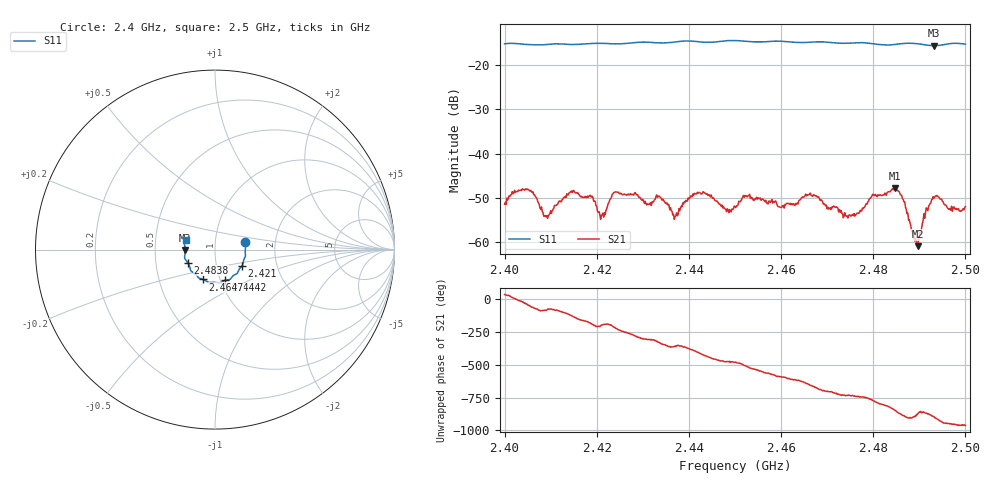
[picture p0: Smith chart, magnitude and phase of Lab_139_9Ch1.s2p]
# Hz S RI R 50
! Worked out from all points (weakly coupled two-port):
!   601 points, 2.4 GHz to 2.5 GHz, reference 50 ohm
!   highest |S21| = -47.77 dB at 2.4847 GHz (marker M1); lowest = -60.9 dB at 2.4897 GHz (marker M2)
!   lowest |S11| = -15.6 dB at 2.4932 GHz (marker M3), VSWR 1.40, Z = 35.8 - j0.117 ohm
!   |S11| at or under -10 dB: start of sweep to end of sweep
!   S12 and S22 are empty: the file has one direction only
!   S11 on the Smith chart (normalised r, x): 2.4 GHz: 1.40, +0.12; 2.421 GHz: 1.33, -0.24; 2.4442 GHz: 1.05, -0.37; 2.4647 GHz: 0.83, -0.28; 2.4838 GHz: 0.73, -0.11; 2.5 GHz: 0.71, +0.08
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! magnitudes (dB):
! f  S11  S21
! 2.4 GHz  -15.2  -51.4
! 2.4052 GHz  -15.4  -48.1
! 2.409 GHz  -15.4  -54.3
! 2.4145 GHz  -15.4  -48.4
! 2.4167 GHz  -15.3  -49.7
! 2.421 GHz  -15.1  -54.1
! 2.424 GHz  -15.2  -48.6
! 2.4333 GHz  -15.0  -49.7
! 2.437 GHz  -14.8  -54.2
! 2.4442 GHz  -14.9  -49.5
! 2.45 GHz  -14.5  -51.9
! 2.4527 GHz  -14.7  -49.8
! 2.4597 GHz  -14.6  -52.0
! 2.4647 GHz  -14.9  -49.8
! 2.4667 GHz  -14.8  -49.5
! 2.474 GHz  -15.1  -54.0
! 2.4833 GHz  -15.5  -48.6
! 2.4838 GHz  -15.5  -48.3
! 2.4847 GHz  -15.4  -47.8
! 2.4897 GHz  -15.2  -60.9
! 2.4932 GHz  -15.6  -50.1
! 2.5 GHz  -15.3  -51.9
